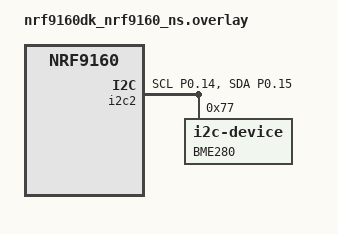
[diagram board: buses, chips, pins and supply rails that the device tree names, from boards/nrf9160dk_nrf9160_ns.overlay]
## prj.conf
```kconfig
# Enable the I2C driver
CONFIG_I2C=y
CONFIG_TFM_SECURE_UART=n
CONFIG_TFM_LOG_LEVEL_SILENCE=y
#Enable floating point format specifiers
CONFIG_CBPRINTF_FP_SUPPORT=y

#GPIO configuration
CONFIG_GPIO=y
CONFIG_SERIAL=y
CONFIG_UART_ASYNC_API=y
```

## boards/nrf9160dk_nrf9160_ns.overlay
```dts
&i2c2 {
    status = "okay";
    pinctrl-0 = <&i2c2_default>;
	pinctrl-1 = <&i2c2_sleep>;
    pinctrl-names = "default", "sleep";
    BME280: BME280@77{
        compatible = "i2c-device";
        status = "okay";
        reg = < 0x77 >;
    };
};

&pinctrl {
	/omit-if-no-ref/ i2c2_default: i2c2_default {
		group1  {
			psels = <NRF_PSEL(TWIM_SCL, 0, 14)>,
					<NRF_PSEL(TWIM_SDA, 0, 15)>;
		};
	};

	/omit-if-no-ref/ i2c2_sleep: i2c2_sleep {
		group1  {
			psels = <NRF_PSEL(TWIM_SCL, 0, 14)>,
					<NRF_PSEL(TWIM_SDA, 0, 15)>;
			low-power-enable;
		};
	};
};
```

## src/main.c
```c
#include <zephyr/kernel.h>
#include <zephyr/device.h>
#include <zephyr/devicetree.h>
/* Include the header file of the I2C API */
#include <zephyr/drivers/i2c.h>
#include <zephyr/logging/log.h>
/*Include header to gpios and UART*/
#include <zephyr/drivers/gpio.h>
#include <zephyr/drivers/uart.h>
#include <zephyr/sys/printk.h>

/*Enable logging*/
LOG_MODULE_REGISTER(BMP280, LOG_LEVEL_DBG);

#define SLEEP_TIME_MS 1000

/* Define the I2C slave device address and the addresses of relevant registers */
#define CTRLMEAS 0xF4
#define CALIB00	 0x88
#define ID	     0xD0
#define TEMPMSB	 0xFA
#define PRESSMSB 0xF7
#define CHIP_ID  0x58
#define SENSOR_CONFIG_VALUE 0x93

/* Get the node identifier of the sensor */
#define I2C_NODE DT_NODELABEL(bme280)
/* Data structure to store BME280 data */
struct bme280_data {
	/* Compensation parameters */
	uint16_t dig_t1;
	int16_t dig_t2;
	int16_t dig_t3;
	uint16_t dig_p1;
	int16_t dig_px[8];
} bmedata;


void bme_calibrationdata(const struct i2c_dt_spec *spec, struct bme280_data *sensor_data_ptr)
{
	uint8_t t_values[6];


	int ret = i2c_burst_read_dt(spec, CALIB00, t_values, 6);

	if (ret != 0) {
		LOG_ERR("Failed to read register %x \n", CALIB00);
		return;
	}
	sensor_data_ptr->dig_t1 = ((uint16_t)t_values[1]) << 8 | t_values[0];
	sensor_data_ptr->dig_t2 = ((uint16_t)t_values[3]) << 8 | t_values[2];
	sensor_data_ptr->dig_t3 = ((uint16_t)t_values[5]) << 8 | t_values[4];

	uint8_t p_values[18];

	ret = i2c_burst_read_dt(spec, CALIB00 + 6, p_values, 18);

	if (ret != 0) {
		LOG_ERR("Failed to read register %x \n", CALIB00 + 6);
		return;
	}
	sensor_data_ptr->dig_p1 = ((uint16_t)(p_values[1]) << 8 | p_values[0]);
	for (int i = 0; i < 8; i++) {
		sensor_data_ptr->dig_px[i] = ((int16_t)(p_values[3 + i * 2]) << 8 | p_values[2 + i * 2]);
	}

}

static int32_t bme280_compensate_temp(struct bme280_data *data, int32_t adc_temp)
{
	int32_t var1, var2, t_fine;

	var1 = (((adc_temp >> 3) - ((int32_t)data->dig_t1 << 1)) * ((int32_t)data->dig_t2)) >> 11;

	var2 = (((((adc_temp >> 4) - ((int32_t)data->dig_t1)) *
		  ((adc_temp >> 4) - ((int32_t)data->dig_t1))) >> 12) *
		((int32_t)data->dig_t3)) >> 14;

	t_fine = var1 + var2;
	return t_fine;
}

static int32_t read_and_print_temp(const struct i2c_dt_spec *spec, struct bme280_data *data)
{
	uint8_t temp_raw[3];
	int ret = i2c_burst_read_dt(spec, TEMPMSB, temp_raw, 3);

	if (ret != 0) {
		LOG_ERR("Failed to read register %x \n", TEMPMSB);
		return 0;
	}
	int32_t adc_temp = ((int32_t)temp_raw[0] << 12) | ((int32_t)temp_raw[1] << 4) | (temp_raw[2] >> 4);
	int32_t t_fine = bme280_compensate_temp(data, adc_temp); //compensate temprature
	int32_t temp = (t_fine * 5 + 128) >> 8;
	LOG_INF("Temperature: %d.%02d °C\n", temp / 100, temp % 100);
	printk("Temperature: %d.%02d °C\n", temp / 100, temp % 100);

	return t_fine;
}

static uint32_t bme280_compensate_pres(struct bme280_data *data, int32_t adc_pres, int32_t t_fine)
{
	int64_t var1, var2, p;

	var1 = ((int64_t)t_fine) - 128000;
	var2 = var1 * var1 * (int64_t)data->dig_px[4];
	var2 = var2 + ((var1 * (int64_t)data->dig_px[3]) << 17);
	var2 = var2 + (((int64_t)data->dig_px[2]) << 35);
	var1 = ((var1 * var1 * (int64_t)data->dig_px[1]) >> 8) + ((var1 * (int64_t)data->dig_px[0]) << 12);
	var1 = (((((int64_t)1) << 47) + var1)) * ((int64_t)data->dig_p1) >> 33;

	if (var1 == 0) {
		return 0; // avoid exception caused by division by zero
	}
	p = 1048576 - adc_pres;
	p = (((p << 31) - var2) * 3125) / var1;
	var1 = (((int64_t)data->dig_px[7]) * (p >> 13) * (p >> 13)) >> 25;
	var2 = (((int64_t)data->dig_px[6]) * p) >> 19;

	p = ((p + var1 + var2) >> 8) + (((int64_t)data->dig_px[5]) << 4);

	return (uint32_t)p;
}

void read_and_print_pressure(const struct i2c_dt_spec *spec, struct bme280_data *data, int32_t t_fine)
{
	uint8_t pres_raw[3];
	int ret = i2c_burst_read_dt(spec, PRESSMSB, pres_raw, 3);


	if (ret != 0) {
		LOG_ERR("Failed to read register %x \n", PRESSMSB);
		return;
	}
	int32_t adc_pres = ((int32_t)pres_raw[0] << 12) | ((int32_t)pres_raw[1] << 4) | (pres_raw[2] >> 4);


	uint32_t pressure = bme280_compensate_pres(data, adc_pres, t_fine); //compensate pressure
	pressure = pressure / 256;
	LOG_INF("Pressure: %d.%02d hPa\n", pressure / 100, pressure % 100);
	printk("Pressure: %d.%02d hPa\n", pressure / 100, pressure % 100);
}

int main(void)
{

	/* Retrieve the API-specific device structure and make sure that the device is
	 * ready to use  */
	static const struct i2c_dt_spec dev_i2c = I2C_DT_SPEC_GET(I2C_NODE);
	if (!device_is_ready(dev_i2c.bus)) {
		LOG_ERR("I2C bus %s is not ready!\n\r",dev_i2c.bus->name);
		return -1;
	}
	/* Verify it is proper device by reading device id  */
	uint8_t id = 0;
	uint8_t regs[] = {ID};

	int ret = i2c_write_read_dt(&dev_i2c, regs, 1, &id, 1);

	if (ret != 0) {
		LOG_ERR("Failed to read register %x \n", regs[0]);
		return -1;
	}

	if (id != CHIP_ID) {
		LOG_ERR("Invalid chip id! %x \n", id);
		return -1;
	}
	bme_calibrationdata(&dev_i2c, &bmedata);

	/* Setup the sensor by writing the value 0x93 to the Configuration register */
	//Pressure oversamling x8, Temperature oversampling x8, Normal mode
	uint8_t sensor_config[] = {CTRLMEAS, SENSOR_CONFIG_VALUE};

	ret = i2c_write_dt(&dev_i2c, sensor_config, 2);  //Write the configuration to the sensor

	if (ret != 0) {
		LOG_ERR("Failed to write register %x \n", sensor_config[0]);
		return -1;
	}

	printk("Program loaded");
	while (1) {

		int32_t t_fine = read_and_print_temp(&dev_i2c, &bmedata);

		read_and_print_pressure(&dev_i2c, &bmedata, t_fine);
		
		k_msleep(SLEEP_TIME_MS);
	}
}
```
